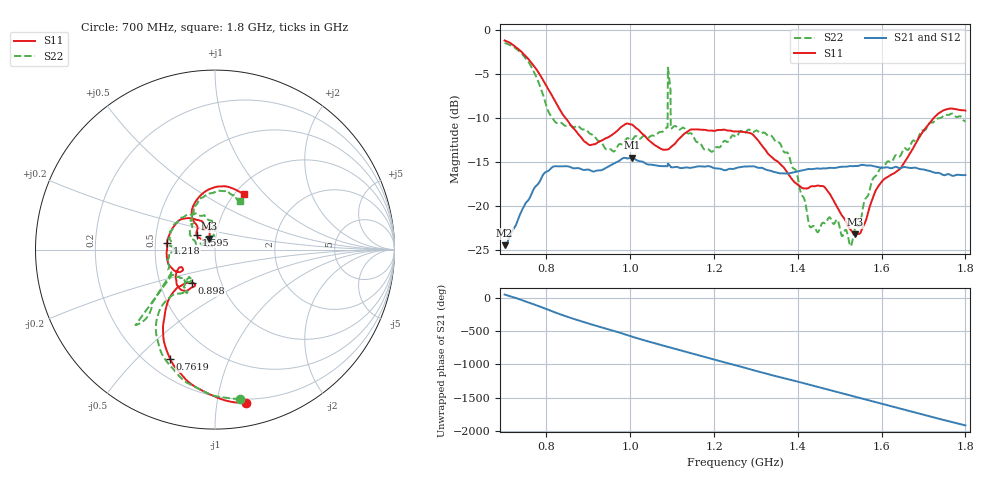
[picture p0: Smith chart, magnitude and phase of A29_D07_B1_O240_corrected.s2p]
! Created with skrf 1.9.0 (http://scikit-rf.org).
# Hz S RI R 50.0
!freq ReS11 ImS11 ReS21 ImS21 ReS12 ImS12 ReS22 ImS22
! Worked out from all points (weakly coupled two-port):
!   1601 points, 700 MHz to 1.8 GHz, reference 50 ohm
!   highest |S21| = -14.52 dB at 1.004 GHz (marker M1); lowest = -24.5 dB at 700 MHz (marker M2)
!   lowest |S11| = -23.3 dB at 1.536 GHz (marker M3), VSWR 1.15, Z = 46.6 + j5.7 ohm
!   |S11| at or under -10 dB: 845.1 MHz to 1.725 GHz (879.7 MHz wide, 68.5 % of centre)
!   |S22| runs from -24.6 to -1.5 dB; largest |S21 - S12| = 0.0036
!   S11 on the Smith chart (normalised r, x): 700 MHz: 0.17, -1.21; 761.9 MHz: 0.29, -0.63; 898 MHz: 0.73, -0.28; 1.218 GHz: 0.58, +0.05; 1.595 GHz: 0.80, +0.14; 1.8 GHz: 1.11, +0.77
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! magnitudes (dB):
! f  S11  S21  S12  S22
! 700 MHz  -1.2  -24.5  -24.3  -1.5
! 761.9 MHz  -3.6  -18.9  -18.9  -4.0
! 818.2 MHz  -7.9  -15.5  -15.6  -10.3
! 883.6 MHz  -12.3  -15.9  -15.8  -11.3
! 898 MHz  -12.9  -15.9  -15.9  -11.5
! 958.5 MHz  -11.9  -15.3  -15.3  -13.8
! 1.004 GHz  -10.8  -14.5  -14.7  -12.5
! 1.067 GHz  -13.3  -15.5  -15.4  -11.7
! 1.084 GHz  -13.6  -15.5  -15.5  -11.3
! 1.095 GHz  -13.4  -15.5  -15.5  -6.5
! 1.102 GHz  -13.1  -15.6  -15.6  -11.1
! 1.218 GHz  -11.4  -15.8  -15.9  -13.0
! 1.25 GHz  -11.6  -15.8  -15.7  -12.1
! 1.357 GHz  -15.2  -16.3  -16.3  -12.8
! 1.396 GHz  -17.5  -16.1  -16.1  -16.0
! 1.434 GHz  -17.8  -15.8  -15.8  -22.4
! 1.466 GHz  -18.0  -15.8  -15.7  -22.0
! 1.536 GHz  -23.3  -15.5  -15.5  -22.6
! 1.595 GHz  -17.6  -15.6  -15.6  -15.9
! 1.617 GHz  -16.7  -15.7  -15.6  -15.0
! 1.733 GHz  -9.6  -16.3  -16.3  -10.1
! 1.8 GHz  -9.2  -16.5  -16.5  -10.4
